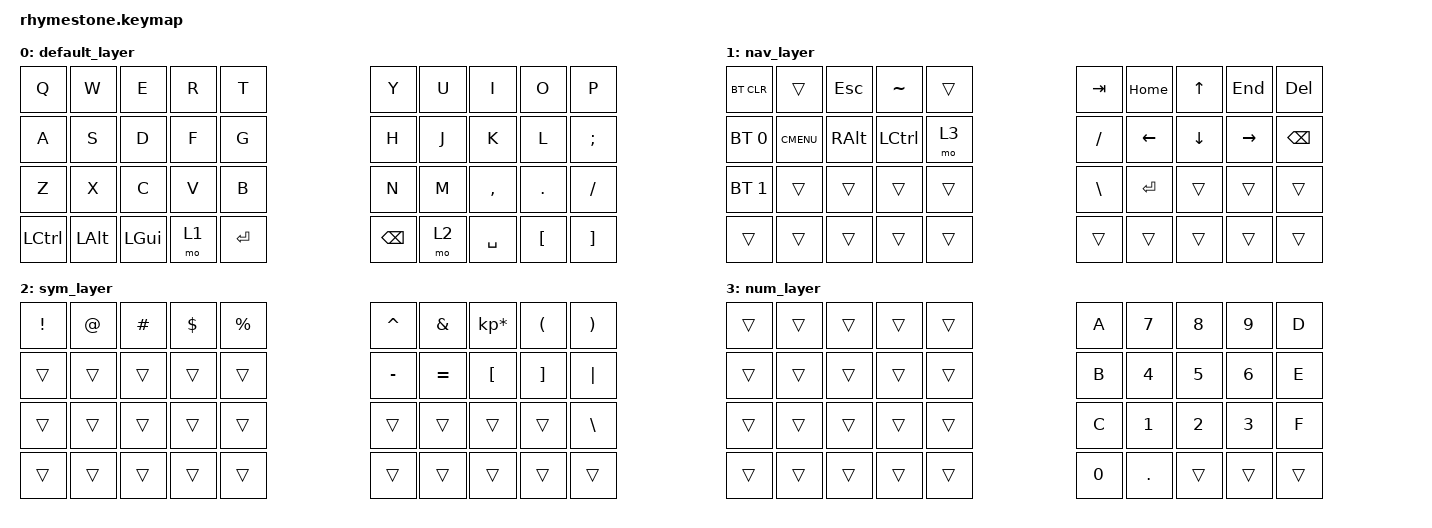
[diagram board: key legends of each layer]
/*
 * Copyright (c) 2020 The ZMK Contributors
 *
 * SPDX-License-Identifier: MIT
 */

#include <behaviors.dtsi>
#include <dt-bindings/zmk/keys.h>
#include <dt-bindings/zmk/bt.h>

/ {
        keymap {
                compatible = "zmk,keymap";

                default_layer {
// -----------------------------------------------------------------------------------------
// |  Q  |  W  |  E  |  R  |  T   |   |  Y  |  U   |  I  |  O  |  P  |
// |  A  |  S  |  D  |  F  |  G   |   |  H  |  J   |  K  |  L  |  ;  |
// |  Z  |  X  |  C  |  V  |  B   |   |  N  |  M   |  ,  |  .  |  /  |
// |LCTRL| ALT | GUI | NAV | ENT  |   |BSPC | SYM  | SPC | [   | ]   |
                        bindings = <
   &kp Q &kp W &kp E &kp R &kp T                   &kp Y &kp U  &kp I     &kp O   &kp P
   &kp A &kp S &kp D &kp F &kp G                   &kp H &kp J  &kp K     &kp L   &kp SEMI
   &kp Z &kp X &kp C &kp V &kp B                   &kp N &kp M  &kp COMMA &kp DOT &kp FSLH
   &kp LCTRL &kp LALT &kp LGUI &mo 1 &kp RET       &kp BSPC &mo 2 &kp SPACE &kp LBKT &kp RBKT
                        >;
                                    

                };
                nav_layer {
// -----------------------------------------------------------------------------------------
// |BTCLR|     | ESC |  ~   |     |   | TAB | HOME |  UP  | END | DEL  |
// | BT1 | GUI | ALT | CTRL | NUM |   |  /  | LEFT | DOWN | RGT | BKSP |
// | BT2 |     |     |      |     |   |  \  | ENT  |      |     |      |
//             |     |      |     |   |     |      |      |
                        bindings = <
   &bt BT_CLR   &trans      &kp ESC  &kp TILDE &trans     &kp TAB  &kp HOME &kp UP   &kp END   &kp DEL
   &bt BT_SEL 0 &kp K_CMENU &kp RALT &kp LCTRL &mo 3      &kp FSLH &kp LEFT &kp DOWN &kp RIGHT &kp BSPC
   &bt BT_SEL 1 &trans      &trans   &trans    &trans     &kp BSLH &kp RET  &trans   &trans    &trans
   &trans  &trans  &trans  &trans  &trans                &trans  &trans  &trans  &trans  &trans
                        >;


                };

                sym_layer {
// -----------------------------------------------------------------------------------------
// |  !  |  @  |  #  |  $  |  %  |   |  ^  |  &  |  *  |  (  |  )  |
// |     |     |     |     |     |   |  -  |  =  |  {  |  }  | "|" |
// |     |     |     |     |     |   |  _  |  +  |  [  |  ]  |  \  |
//             | GUI |     | SPC |   | ENT |     | ALT |
                        bindings = <
   &kp EXCL  &kp AT    &kp HASH  &kp DLLR  &kp PRCNT   &kp CARET &kp AMPS  &kp KP_MULTIPLY &kp LPAR &kp RPAR
   &trans    &trans    &trans    &trans    &trans      &kp MINUS &kp EQUAL &kp LBKT        &kp RBKT &kp PIPE
   &trans    &trans    &trans    &trans    &trans      &trans    &trans    &trans          &trans   &kp BSLH
   &trans  &trans  &trans  &trans  &trans                &trans  &trans  &trans  &trans  &trans
                        >;

                
                };

// This layer is unreachable until "tri layer state" is sorted out.
// Leaving it here for completeness.
                num_layer {
// -----------------------------------------------------------------------------------------
// |     |     |     |     |     |   |  A  |  7  |  8  |  9  |  D  |
// |     |     |     |     |     |   |  B  |  4  |  5  |  6  |  E  |
// |     |     |     |     |     |   |  C  |  1  |  2  |  3  |  F  |
//             |     |     |     |   |  0  |  .  |     |
                        bindings = <
   &trans &trans &trans &trans &trans    &kp A  &kp N7  &kp N8 &kp N9 &kp D
   &trans &trans &trans &trans &trans    &kp B  &kp N4  &kp N5 &kp N6 &kp E
   &trans &trans &trans &trans &trans    &kp C  &kp N1  &kp N2 &kp N3 &kp F
   &trans &trans &trans &trans &trans    &kp N0 &kp DOT &trans &trans &trans 
                        >;


                };
        };
};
